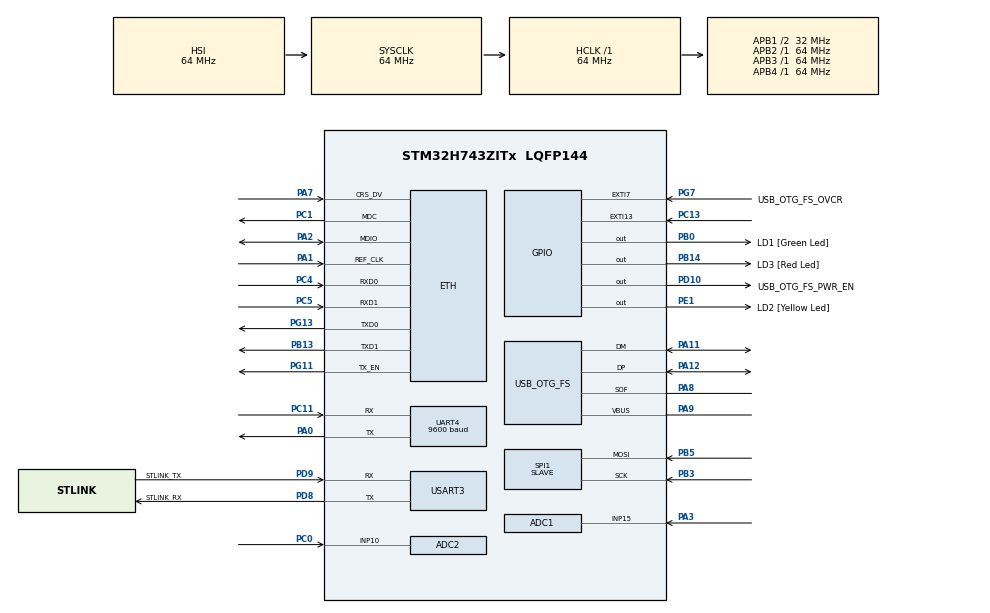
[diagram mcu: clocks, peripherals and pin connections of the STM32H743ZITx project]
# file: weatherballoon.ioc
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ADC1.Channel-1\#ChannelRegularConversion=ADC_CHANNEL_15
ADC1.NbrOfConversionFlag=1
ADC1.OffsetNumber-1\#ChannelRegularConversion=ADC_OFFSET_NONE
ADC1.OffsetSignedSaturation-1\#ChannelRegularConversion=DISABLE
ADC1.Rank-1\#ChannelRegularConversion=1
ADC1.Resolution=ADC_RESOLUTION_12B
ADC1.SamplingTime-1\#ChannelRegularConversion=ADC_SAMPLETIME_1CYCLE_5
ADC1.master=1
ADC2.Channel-0\#ChannelRegularConversion=ADC_CHANNEL_10
ADC2.NbrOfConversionFlag=1
ADC2.OffsetNumber-0\#ChannelRegularConversion=ADC_OFFSET_NONE
ADC2.OffsetSignedSaturation-0\#ChannelRegularConversion=DISABLE
ADC2.Rank-0\#ChannelRegularConversion=1
ADC2.SamplingTime-0\#ChannelRegularConversion=ADC_SAMPLETIME_1CYCLE_5
Dma.Request0=SPI1_RX
Dma.SPI1_RX.0.Direction=DMA_PERIPH_TO_MEMORY
Dma.SPI1_RX.0.EventEnable=DISABLE
Dma.SPI1_RX.0.FIFOMode=DMA_FIFOMODE_DISABLE
Dma.SPI1_RX.0.Instance=DMA1_Stream0
Dma.SPI1_RX.0.MemDataAlignment=DMA_MDATAALIGN_BYTE
Dma.SPI1_RX.0.MemInc=DMA_MINC_ENABLE
Dma.SPI1_RX.0.Mode=DMA_CIRCULAR
Dma.SPI1_RX.0.PeriphDataAlignment=DMA_PDATAALIGN_BYTE
Dma.SPI1_RX.0.PeriphInc=DMA_PINC_DISABLE
Dma.SPI1_RX.0.Polarity=HAL_DMAMUX_REQ_GEN_RISING
Dma.SPI1_RX.0.Priority=DMA_PRIORITY_LOW
Dma.SPI1_RX.0.RequestNumber=1
Dma.SPI1_RX.0.SignalID=NONE
Dma.SPI1_RX.0.SyncEnable=DISABLE
Dma.SPI1_RX.0.SyncPolarity=HAL_DMAMUX_SYNC_NO_EVENT
Dma.SPI1_RX.0.SyncRequestNumber=1
Dma.SPI1_RX.0.SyncSignalID=NONE
ETH.MediaInterface=HAL_ETH_RMII_MODE
FREERTOS.Tasks01=PollingLoop,24,128,StartPollingLoop,Default,NULL,Dynamic,NULL,NULL
FREERTOS.Timers01=batteryTimer,BatteryCallback,osTimerPeriodic,Default,NULL,Dynamic,NULL;descensionTimer,DescensionCallback,osTimerPeriodic,Default,NULL,Dynamic,NULL
FREERTOS.configUSE_NEWLIB_REENTRANT=1
Mcu.Family=STM32H7
Mcu.Name=STM32H743ZITx
Mcu.Package=LQFP144
NVIC.DMA1_Stream0_IRQn=true\:5\:0\:false\:false\:true\:true\:false\:true\:true
NVIC.EXTI15_10_IRQn=true\:5\:0\:false\:false\:true\:true\:true\:true\:true
NVIC.PriorityGroup=NVIC_PRIORITYGROUP_4
NVIC.SPI1_IRQn=true\:5\:0\:false\:false\:true\:true\:false\:true\:true
NVIC.TIM6_DAC_IRQn=true\:15\:0\:false\:false\:true\:false\:false\:true\:true
NVIC.TimeBase=TIM6_DAC_IRQn
NVIC.TimeBaseIP=TIM6
PA0.Mode=Asynchronous
PA0.Signal=UART4_TX
PA1.Mode=RMII
PA1.Signal=ETH_REF_CLK
PA11.Mode=Device_Only
PA11.Signal=USB_OTG_FS_DM
PA12.Mode=Device_Only
PA12.Signal=USB_OTG_FS_DP
PA2.Mode=RMII
PA2.Signal=ETH_MDIO
PA3.Signal=ADCx_INP15
PA7.Mode=RMII
PA7.Signal=ETH_CRS_DV
PA8.Mode=Activate_SOF_FS
PA8.Signal=USB_OTG_FS_SOF
PA9.Mode=Activate_VBUS
PA9.Signal=USB_OTG_FS_VBUS
PB0.GPIO_Label=LD1 [Green Led]
PB0.Signal=GPIO_Output
PB13.Mode=RMII
PB13.Signal=ETH_TXD1
PB14.GPIO_Label=LD3 [Red Led]
PB14.Signal=GPIO_Output
PB3\ (JTDO/TRACESWO).Mode=RX_Only_Simplex_Unidirect_Slave
PB3\ (JTDO/TRACESWO).Signal=SPI1_SCK
PB5.Mode=RX_Only_Simplex_Unidirect_Slave
PB5.Signal=SPI1_MOSI
PC0.Signal=ADCx_INP10
PC1.Mode=RMII
PC1.Signal=ETH_MDC
PC11.Mode=Asynchronous
PC11.Signal=UART4_RX
PC13.Signal=GPXTI13
PC14-OSC32_IN\ (OSC32_IN).Mode=LSE-External-Oscillator
PC14-OSC32_IN\ (OSC32_IN).Signal=RCC_OSC32_IN
PC15-OSC32_OUT\ (OSC32_OUT).Mode=LSE-External-Oscillator
PC15-OSC32_OUT\ (OSC32_OUT).Signal=RCC_OSC32_OUT
PC4.Mode=RMII
PC4.Signal=ETH_RXD0
PC5.Mode=RMII
PC5.Signal=ETH_RXD1
PD10.GPIO_Label=USB_OTG_FS_PWR_EN
PD10.Signal=GPIO_Output
PD8.GPIO_Label=STLINK_RX
PD8.Mode=Asynchronous
PD8.Signal=USART3_TX
PD9.GPIO_Label=STLINK_TX
PD9.Mode=Asynchronous
PD9.Signal=USART3_RX
PE1.GPIO_Label=LD2 [Yellow Led]
PE1.Signal=GPIO_Output
PG11.Mode=RMII
PG11.Signal=ETH_TX_EN
PG13.Mode=RMII
PG13.Signal=ETH_TXD0
PG7.GPIO_Label=USB_OTG_FS_OVCR
PG7.Signal=GPXTI7
PH0-OSC_IN\ (PH0).Mode=HSE-External-Clock-Source
PH0-OSC_IN\ (PH0).Signal=RCC_OSC_IN
PH1-OSC_OUT\ (PH1).Signal=RCC_OSC_OUT
ProjectManager.HeapSize=0x200
ProjectManager.StackSize=0x400
ProjectManager.TargetToolchain=STM32CubeIDE
RCC.ADCFreq_Value=76000000
RCC.APB1Freq_Value=32000000
RCC.APB2Freq_Value=64000000
RCC.APB3Freq_Value=64000000
RCC.APB4Freq_Value=64000000
RCC.CortexFreq_Value=64000000
RCC.D2PPRE1=RCC_APB1_DIV2
RCC.DIVM1=1
RCC.DIVM2=1
RCC.DIVN1=24
RCC.DIVN2=19
RCC.DIVQ1=4
RCC.HCLKFreq_Value=64000000
RCC.HSE_VALUE=8000000
RCC.SYSCLKFreq_VALUE=64000000
RCC.USBFreq_Value=48000000
SH.ADCx_INP10.0=ADC2_INP10,IN10-Single-Ended
SH.ADCx_INP15.0=ADC1_INP15,IN15-Single-Ended
SPI1.DataSize=SPI_DATASIZE_8BIT
SPI1.Direction=SPI_DIRECTION_2LINES_RXONLY
SPI1.Mode=SPI_MODE_SLAVE
SPI1.VirtualType=VM_SLAVE
UART4.BaudRate=9600
USART3.VirtualMode-Asynchronous=VM_ASYNC
USB_OTG_FS.VirtualMode=Device_Only
VP_FREERTOS_VS_CMSIS_V2.Mode=CMSIS_V2
VP_SYS_VS_tim6.Mode=TIM6
board=NUCLEO-H743ZI2

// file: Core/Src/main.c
/* USER CODE BEGIN Header */
/**
  ******************************************************************************
  * @file           : main.c
  * @brief          : Main program body
  ******************************************************************************
  * @attention
  *
  * Copyright (c) 2024 STMicroelectronics.
  * All rights reserved.
  *
  * This software is licensed under terms that can be found in the LICENSE file
  * in the root directory of this software component.
  * If no LICENSE file comes with this software, it is provided AS-IS.
  *
  ******************************************************************************
  */
/* USER CODE END Header */
#include "main.h"
#include "string.h"
#include "cmsis_os.h"
#include "unistd.h"
#include "data_storage.h"

/* USER CODE BEGIN Includes */

#include <stdio.h>
#include "retarget.h"
#include <stdbool.h>

#define powMin 10  // Replace with the actual power threshold value
#define maxLongitude 0
#define minLongitude 0
#define maxLatitude 0
#define minLatitude 0
#define maxAltitude 0
#define voltageConversion 25/4095
#define currentConversion 30/4095

#define logPeriod	60000	// Period for logging data, in milliseconds.
#define maxLoggingTime 28800000	// Max total time to be logging data, in milliseconds

int descendFlag = 0;
float prevAltitude = 0;
bool isLoggingTimeout = false;

typedef struct {
    int longitude;
    int latitude;
    int altitude;
} Coordinates;
/* USER CODE END Includes */

#if defined ( __ICCARM__ ) /*!< IAR Compiler */
#pragma location=0x30000000
ETH_DMADescTypeDef  DMARxDscrTab[ETH_RX_DESC_CNT]; /* Ethernet Rx DMA Descriptors */
#pragma location=0x30000200
ETH_DMADescTypeDef  DMATxDscrTab[ETH_TX_DESC_CNT]; /* Ethernet Tx DMA Descriptors */

#elif defined ( __CC_ARM )  /* MDK ARM Compiler */

__attribute__((at(0x30000000))) ETH_DMADescTypeDef  DMARxDscrTab[ETH_RX_DESC_CNT]; /* Ethernet Rx DMA Descriptors */
__attribute__((at(0x30000200))) ETH_DMADescTypeDef  DMATxDscrTab[ETH_TX_DESC_CNT]; /* Ethernet Tx DMA Descriptors */

#elif defined ( __GNUC__ ) /* GNU Compiler */

ETH_DMADescTypeDef DMARxDscrTab[ETH_RX_DESC_CNT] __attribute__((section(".RxDecripSection"))); /* Ethernet Rx DMA Descriptors */
ETH_DMADescTypeDef DMATxDscrTab[ETH_TX_DESC_CNT] __attribute__((section(".TxDecripSection")));   /* Ethernet Tx DMA Descriptors */
#endif

ETH_TxPacketConfig TxConfig;

ADC_HandleTypeDef hadc1;
ADC_HandleTypeDef hadc2;

ETH_HandleTypeDef heth;

SPI_HandleTypeDef hspi1;
DMA_HandleTypeDef hdma_spi1_rx;

UART_HandleTypeDef huart4;
UART_HandleTypeDef huart3;

PCD_HandleTypeDef hpcd_USB_OTG_FS;

/* Definitions for PollingLoop */
osThreadId_t PollingLoopHandle;
const osThreadAttr_t PollingLoop_attributes = {
  .name = "PollingLoop",
  .stack_size = 128 * 4,
  .priority = (osPriority_t) osPriorityNormal,
};
/* Definitions for batteryTimer */
osTimerId_t batteryTimerHandle;
const osTimerAttr_t batteryTimer_attributes = {
  .name = "batteryTimer"
};
/* Definitions for descensionTimer */
osTimerId_t descensionTimerHandle;
const osTimerAttr_t descensionTimer_attributes = {
  .name = "descensionTimer"
};
/* USER CODE BEGIN PV */
Position position;
/* USER CODE END PV */

void SystemClock_Config(void);
void PeriphCommonClock_Config(void);
static void MX_GPIO_Init(void);
static void MX_DMA_Init(void);
static void MX_USART3_UART_Init(void);
static void MX_USB_OTG_FS_PCD_Init(void);
static void MX_ETH_Init(void);
static void MX_SPI1_Init(void);
static void MX_ADC1_Init(void);
static void MX_ADC2_Init(void);
static void MX_UART4_Init(void);
void StartPollingLoop(void *argument);
void BatteryCallback(void *argument);
void DescensionCallback(void *argument);

/* USER CODE BEGIN PFP */
int getVoltage();
int getCurrent();
void checkBattery();
int checkAltitude(float altitude);
void checkLocation();
void fetchData(Data* data);
void logData();
void cutBalloon();
/* USER CODE END PFP */

/* USER CODE BEGIN 0 */
void fetchData(Data* data){
	data->time = HAL_GetTick();
	data->volts = getVoltage();
	data->longitude = position.longitude;
	data->latitude = position.latitude;
	data->altitude = position.altitude;
	//data.temperature = getTemperature();
	data->temperature = 0; //replace with above line when temperature function is implemented
	data->current = getCurrent();
}

void logData(){
		if(HAL_GetTick() < maxLoggingTime && !isLoggingTimeout){
			Data data;
			fetchData(&data);
			write_data((uint32_t*)&data);
		} else {
			isLoggingTimeout = true;
		}
}

void cutBalloon(){

	//set to pin to high HAL FUNCTION WITH PIN

	__disable_irq();
	HAL_GPIO_WritePin(GPIOB, GPIO_PIN_5, GPIO_PIN_SET);
	for(int i=0;i<64000000*15;i++){
		__NOP();
	}
	HAL_GPIO_WritePin(GPIOB, GPIO_PIN_5, GPIO_PIN_RESET);
	__enable_irq();
}

void lowPowerMode(){
	uint32_t lastTickCount_ms = 0;
	HAL_GPIO_WritePin(GPIOB, LD1_Pin, GPIO_PIN_RESET);
    //stopTransmitter();
   cutBalloon();
	while(1){
    	if((uint32_t)(HAL_GetTick() - lastTickCount_ms) >= logPeriod){
    		lastTickCount_ms = HAL_GetTick();

    		logData();
    	}
	}
}

int getVoltage(){
	uint32_t adc_val;
	HAL_ADC_Start(&hadc1);

	if(HAL_ADC_PollForConversion(&hadc1, 10)==HAL_OK){

		adc_val=HAL_ADC_GetValue(&hadc1);

	} else {
		return 0;
	}

	HAL_ADC_Stop(&hadc1);
	adc_val*=voltageConversion;

	return adc_val;
}

int getCurrent(){
	uint32_t adc_curr;
	HAL_ADC_Start(&hadc2);

	if(HAL_ADC_PollForConversion(&hadc2, 10)==HAL_OK){

			adc_curr=HAL_ADC_GetValue(&hadc2);

	} else {
		return 0;
	}

	HAL_ADC_Stop(&hadc2);
	adc_curr*=currentConversion;

	return adc_curr;
}

void checkBattery(){
	float batteryVoltage = getVoltage();

		if (batteryVoltage <= powMin){
			lowPowerMode();
		}
}

int checkAltitude(float altitude){
	if (altitude < prevAltitude){
		descendFlag+= 1;
	}
    if (altitude >= maxAltitude){
        return 1;
    }
    prevAltitude = altitude;
    return 0;
}

void checkLocation(void){
	getLocation(&hspi1, &position);

    if (position.longitude < maxLongitude && position.longitude > minLongitude){
        if(position.latitude < maxLatitude && position.latitude > minLatitude){
            if(checkAltitude(position.altitude) == 1){
                lowPowerMode();
            }
            return;
        }
    }

    lowPowerMode();
}

//The functions needs to have a parameter

/* USER CODE END 0 */

int main(void)
{

  /* MCU Configuration--------------------------------------------------------*/

  /* Reset of all peripherals, Initializes the Flash interface and the Systick. */
  HAL_Init();

  /* Configure the system clock */
  SystemClock_Config();

/* Configure the peripherals common clocks */
  PeriphCommonClock_Config();

  /* Initialize all configured peripherals */
  MX_GPIO_Init();
  MX_DMA_Init();
  MX_USART3_UART_Init();
  MX_USB_OTG_FS_PCD_Init();
  MX_ETH_Init();
  MX_SPI1_Init();
  MX_ADC1_Init();
  MX_ADC2_Init();
  MX_UART4_Init();
  /* USER CODE BEGIN 2 */
  getLocation(&hspi1, &position);
  HAL_SPI_RegisterCallback(&hspi1, HAL_SPI_RX_COMPLETE_CB_ID, getLocationClbk);

  HAL_GPIO_WritePin(LD2_GPIO_Port, LD2_Pin, GPIO_PIN_SET);
  read_data(huart3);
  HAL_GPIO_WritePin(LD2_GPIO_Port, LD2_Pin, GPIO_PIN_RESET);
  /* USER CODE END 2 */

  /* Init scheduler */
  osKernelInitialize();

  /* Create the timer(s) */
  /* creation of batteryTimer */
  batteryTimerHandle = osTimerNew(BatteryCallback, osTimerPeriodic, NULL, &batteryTimer_attributes);

  /* creation of descensionTimer */
  descensionTimerHandle = osTimerNew(DescensionCallback, osTimerPeriodic, NULL, &descensionTimer_attributes);

  /* Create the thread(s) */
  /* creation of PollingLoop */
  PollingLoopHandle = osThreadNew(StartPollingLoop, NULL, &PollingLoop_attributes);

  /* Start scheduler */
  osKernelStart();

  /* We should never get here as control is now taken by the scheduler */

  /* Infinite loop */
  while (1)
  {

  }
}

void SystemClock_Config(void)
{
  RCC_OscInitTypeDef RCC_OscInitStruct = {0};
  RCC_ClkInitTypeDef RCC_ClkInitStruct = {0};

  /** Supply configuration update enable
  */
  HAL_PWREx_ConfigSupply(PWR_LDO_SUPPLY);

  /** Configure the main internal regulator output voltage
  */
  __HAL_PWR_VOLTAGESCALING_CONFIG(PWR_REGULATOR_VOLTAGE_SCALE3);

  while(!__HAL_PWR_GET_FLAG(PWR_FLAG_VOSRDY)) {}

  /** Initializes the RCC Oscillators according to the specified parameters
  * in the RCC_OscInitTypeDef structure.
  */
  RCC_OscInitStruct.OscillatorType = RCC_OSCILLATORTYPE_HSI|RCC_OSCILLATORTYPE_HSE;
  RCC_OscInitStruct.HSEState = RCC_HSE_BYPASS;
  RCC_OscInitStruct.HSIState = RCC_HSI_DIV1;
  RCC_OscInitStruct.HSICalibrationValue = RCC_HSICALIBRATION_DEFAULT;
  RCC_OscInitStruct.PLL.PLLState = RCC_PLL_ON;
  RCC_OscInitStruct.PLL.PLLSource = RCC_PLLSOURCE_HSE;
  RCC_OscInitStruct.PLL.PLLM = 1;
  RCC_OscInitStruct.PLL.PLLN = 24;
  RCC_OscInitStruct.PLL.PLLP = 2;
  RCC_OscInitStruct.PLL.PLLQ = 4;
  RCC_OscInitStruct.PLL.PLLR = 2;
  RCC_OscInitStruct.PLL.PLLRGE = RCC_PLL1VCIRANGE_3;
  RCC_OscInitStruct.PLL.PLLVCOSEL = RCC_PLL1VCOWIDE;
  RCC_OscInitStruct.PLL.PLLFRACN = 0;
  if (HAL_RCC_OscConfig(&RCC_OscInitStruct) != HAL_OK)
  {
    Error_Handler();
  }

  /** Initializes the CPU, AHB and APB buses clocks
  */
  RCC_ClkInitStruct.ClockType = RCC_CLOCKTYPE_HCLK|RCC_CLOCKTYPE_SYSCLK
                              |RCC_CLOCKTYPE_PCLK1|RCC_CLOCKTYPE_PCLK2
                              |RCC_CLOCKTYPE_D3PCLK1|RCC_CLOCKTYPE_D1PCLK1;
  RCC_ClkInitStruct.SYSCLKSource = RCC_SYSCLKSOURCE_HSI;
  RCC_ClkInitStruct.SYSCLKDivider = RCC_SYSCLK_DIV1;
  RCC_ClkInitStruct.AHBCLKDivider = RCC_HCLK_DIV1;
  RCC_ClkInitStruct.APB3CLKDivider = RCC_APB3_DIV1;
  RCC_ClkInitStruct.APB1CLKDivider = RCC_APB1_DIV2;
  RCC_ClkInitStruct.APB2CLKDivider = RCC_APB2_DIV1;
  RCC_ClkInitStruct.APB4CLKDivider = RCC_APB4_DIV1;

  if (HAL_RCC_ClockConfig(&RCC_ClkInitStruct, FLASH_LATENCY_1) != HAL_OK)
  {
    Error_Handler();
  }
}

void PeriphCommonClock_Config(void)
{
  RCC_PeriphCLKInitTypeDef PeriphClkInitStruct = {0};

  /** Initializes the peripherals clock
  */
  PeriphClkInitStruct.PeriphClockSelection = RCC_PERIPHCLK_ADC;
  PeriphClkInitStruct.PLL2.PLL2M = 1;
  PeriphClkInitStruct.PLL2.PLL2N = 19;
  PeriphClkInitStruct.PLL2.PLL2P = 2;
  PeriphClkInitStruct.PLL2.PLL2Q = 2;
  PeriphClkInitStruct.PLL2.PLL2R = 2;
  PeriphClkInitStruct.PLL2.PLL2RGE = RCC_PLL2VCIRANGE_3;
  PeriphClkInitStruct.PLL2.PLL2VCOSEL = RCC_PLL2VCOMEDIUM;
  PeriphClkInitStruct.PLL2.PLL2FRACN = 0;
  PeriphClkInitStruct.AdcClockSelection = RCC_ADCCLKSOURCE_PLL2;
  if (HAL_RCCEx_PeriphCLKConfig(&PeriphClkInitStruct) != HAL_OK)
  {
    Error_Handler();
  }
}

static void MX_ADC1_Init(void)
{

  ADC_MultiModeTypeDef multimode = {0};
  ADC_ChannelConfTypeDef sConfig = {0};

  /** Common config
  */
  hadc1.Instance = ADC1;
  hadc1.Init.ClockPrescaler = ADC_CLOCK_ASYNC_DIV2;
  hadc1.Init.Resolution = ADC_RESOLUTION_16B;
  hadc1.Init.ScanConvMode = ADC_SCAN_DISABLE;
  hadc1.Init.EOCSelection = ADC_EOC_SINGLE_CONV;
  hadc1.Init.LowPowerAutoWait = DISABLE;
  hadc1.Init.ContinuousConvMode = DISABLE;
  hadc1.Init.NbrOfConversion = 1;
  hadc1.Init.DiscontinuousConvMode = DISABLE;
  hadc1.Init.ExternalTrigConv = ADC_SOFTWARE_START;
  hadc1.Init.ExternalTrigConvEdge = ADC_EXTERNALTRIGCONVEDGE_NONE;
  hadc1.Init.ConversionDataManagement = ADC_CONVERSIONDATA_DR;
  hadc1.Init.Overrun = ADC_OVR_DATA_PRESERVED;
  hadc1.Init.LeftBitShift = ADC_LEFTBITSHIFT_NONE;
  hadc1.Init.OversamplingMode = DISABLE;
  if (HAL_ADC_Init(&hadc1) != HAL_OK)
  {
    Error_Handler();
  }

  /** Configure the ADC multi-mode
  */
  multimode.Mode = ADC_MODE_INDEPENDENT;
  if (HAL_ADCEx_MultiModeConfigChannel(&hadc1, &multimode) != HAL_OK)
  {
    Error_Handler();
  }

  /** Configure Regular Channel
  */
  sConfig.Channel = ADC_CHANNEL_15;
  sConfig.Rank = ADC_REGULAR_RANK_1;
  sConfig.SamplingTime = ADC_SAMPLETIME_1CYCLE_5;
  sConfig.SingleDiff = ADC_SINGLE_ENDED;
  sConfig.OffsetNumber = ADC_OFFSET_NONE;
  sConfig.Offset = 0;
  sConfig.OffsetSignedSaturation = DISABLE;
  if (HAL_ADC_ConfigChannel(&hadc1, &sConfig) != HAL_OK)
  {
    Error_Handler();
  }

}

static void MX_ADC2_Init(void)
{

  ADC_ChannelConfTypeDef sConfig = {0};

  /** Common config
  */
  hadc2.Instance = ADC2;
  hadc2.Init.ClockPrescaler = ADC_CLOCK_ASYNC_DIV2;
  hadc2.Init.Resolution = ADC_RESOLUTION_16B;
  hadc2.Init.ScanConvMode = ADC_SCAN_DISABLE;
  hadc2.Init.EOCSelection = ADC_EOC_SINGLE_CONV;
  hadc2.Init.LowPowerAutoWait = DISABLE;
  hadc2.Init.ContinuousConvMode = DISABLE;
  hadc2.Init.NbrOfConversion = 1;
  hadc2.Init.DiscontinuousConvMode = DISABLE;
  hadc2.Init.ExternalTrigConv = ADC_SOFTWARE_START;
  hadc2.Init.ExternalTrigConvEdge = ADC_EXTERNALTRIGCONVEDGE_NONE;
  hadc2.Init.ConversionDataManagement = ADC_CONVERSIONDATA_DR;
  hadc2.Init.Overrun = ADC_OVR_DATA_PRESERVED;
  hadc2.Init.LeftBitShift = ADC_LEFTBITSHIFT_NONE;
  hadc2.Init.OversamplingMode = DISABLE;
  if (HAL_ADC_Init(&hadc2) != HAL_OK)
  {
    Error_Handler();
  }

  /** Configure Regular Channel
  */
  sConfig.Channel = ADC_CHANNEL_10;
  sConfig.Rank = ADC_REGULAR_RANK_1;
  sConfig.SamplingTime = ADC_SAMPLETIME_1CYCLE_5;
  sConfig.SingleDiff = ADC_SINGLE_ENDED;
  sConfig.OffsetNumber = ADC_OFFSET_NONE;
  sConfig.Offset = 0;
  sConfig.OffsetSignedSaturation = DISABLE;
  if (HAL_ADC_ConfigChannel(&hadc2, &sConfig) != HAL_OK)
  {
    Error_Handler();
  }

}

static void MX_ETH_Init(void)
{

   static uint8_t MACAddr[6];

  heth.Instance = ETH;
  MACAddr[0] = 0x00;
  MACAddr[1] = 0x80;
  MACAddr[2] = 0xE1;
  MACAddr[3] = 0x00;
  MACAddr[4] = 0x00;
  MACAddr[5] = 0x00;
  heth.Init.MACAddr = &MACAddr[0];
  heth.Init.MediaInterface = HAL_ETH_RMII_MODE;
  heth.Init.TxDesc = DMATxDscrTab;
  heth.Init.RxDesc = DMARxDscrTab;
  heth.Init.RxBuffLen = 1524;

  if (HAL_ETH_Init(&heth) != HAL_OK)
  {
    Error_Handler();
  }

  memset(&TxConfig, 0 , sizeof(ETH_TxPacketConfig));
  TxConfig.Attributes = ETH_TX_PACKETS_FEATURES_CSUM | ETH_TX_PACKETS_FEATURES_CRCPAD;
  TxConfig.ChecksumCtrl = ETH_CHECKSUM_IPHDR_PAYLOAD_INSERT_PHDR_CALC;
  TxConfig.CRCPadCtrl = ETH_CRC_PAD_INSERT;

}

static void MX_SPI1_Init(void)
{

  /* SPI1 parameter configuration*/
  hspi1.Instance = SPI1;
  hspi1.Init.Mode = SPI_MODE_SLAVE;
  hspi1.Init.Direction = SPI_DIRECTION_2LINES_RXONLY;
  hspi1.Init.DataSize = SPI_DATASIZE_8BIT;
  hspi1.Init.CLKPolarity = SPI_POLARITY_LOW;
  hspi1.Init.CLKPhase = SPI_PHASE_1EDGE;
  hspi1.Init.NSS = SPI_NSS_SOFT;
  hspi1.Init.FirstBit = SPI_FIRSTBIT_MSB;
  hspi1.Init.TIMode = SPI_TIMODE_DISABLE;
  hspi1.Init.CRCCalculation = SPI_CRCCALCULATION_DISABLE;
  hspi1.Init.CRCPolynomial = 0x0;
  hspi1.Init.NSSPMode = SPI_NSS_PULSE_DISABLE;
  hspi1.Init.NSSPolarity = SPI_NSS_POLARITY_LOW;
  hspi1.Init.FifoThreshold = SPI_FIFO_THRESHOLD_01DATA;
  hspi1.Init.TxCRCInitializationPattern = SPI_CRC_INITIALIZATION_ALL_ZERO_PATTERN;
  hspi1.Init.RxCRCInitializationPattern = SPI_CRC_INITIALIZATION_ALL_ZERO_PATTERN;
  hspi1.Init.MasterSSIdleness = SPI_MASTER_SS_IDLENESS_00CYCLE;
  hspi1.Init.MasterInterDataIdleness = SPI_MASTER_INTERDATA_IDLENESS_00CYCLE;
  hspi1.Init.MasterReceiverAutoSusp = SPI_MASTER_RX_AUTOSUSP_DISABLE;
  hspi1.Init.MasterKeepIOState = SPI_MASTER_KEEP_IO_STATE_DISABLE;
  hspi1.Init.IOSwap = SPI_IO_SWAP_DISABLE;
  if (HAL_SPI_Init(&hspi1) != HAL_OK)
  {
    Error_Handler();
  }

}

static void MX_UART4_Init(void)
{

  huart4.Instance = UART4;
  huart4.Init.BaudRate = 9600;
  huart4.Init.WordLength = UART_WORDLENGTH_8B;
  huart4.Init.StopBits = UART_STOPBITS_1;
  huart4.Init.Parity = UART_PARITY_NONE;
  huart4.Init.Mode = UART_MODE_TX_RX;
  huart4.Init.HwFlowCtl = UART_HWCONTROL_NONE;
  huart4.Init.OverSampling = UART_OVERSAMPLING_16;
  huart4.Init.OneBitSampling = UART_ONE_BIT_SAMPLE_DISABLE;
  huart4.Init.ClockPrescaler = UART_PRESCALER_DIV1;
  huart4.AdvancedInit.AdvFeatureInit = UART_ADVFEATURE_NO_INIT;
  if (HAL_UART_Init(&huart4) != HAL_OK)
  {
    Error_Handler();
  }
  if (HAL_UARTEx_SetTxFifoThreshold(&huart4, UART_TXFIFO_THRESHOLD_1_8) != HAL_OK)
  {
    Error_Handler();
  }
  if (HAL_UARTEx_SetRxFifoThreshold(&huart4, UART_RXFIFO_THRESHOLD_1_8) != HAL_OK)
  {
    Error_Handler();
  }
  if (HAL_UARTEx_DisableFifoMode(&huart4) != HAL_OK)
  {
    Error_Handler();
  }

}

static void MX_USART3_UART_Init(void)
{

  huart3.Instance = USART3;
  huart3.Init.BaudRate = 115200;
  huart3.Init.WordLength = UART_WORDLENGTH_8B;
  huart3.Init.StopBits = UART_STOPBITS_1;
  huart3.Init.Parity = UART_PARITY_NONE;
  huart3.Init.Mode = UART_MODE_TX_RX;
  huart3.Init.HwFlowCtl = UART_HWCONTROL_NONE;
  huart3.Init.OverSampling = UART_OVERSAMPLING_16;
  huart3.Init.OneBitSampling = UART_ONE_BIT_SAMPLE_DISABLE;
  huart3.Init.ClockPrescaler = UART_PRESCALER_DIV1;
  huart3.AdvancedInit.AdvFeatureInit = UART_ADVFEATURE_NO_INIT;
  if (HAL_UART_Init(&huart3) != HAL_OK)
  {
    Error_Handler();
  }
  if (HAL_UARTEx_SetTxFifoThreshold(&huart3, UART_TXFIFO_THRESHOLD_1_8) != HAL_OK)
  {
    Error_Handler();
  }
  if (HAL_UARTEx_SetRxFifoThreshold(&huart3, UART_RXFIFO_THRESHOLD_1_8) != HAL_OK)
  {
    Error_Handler();
  }
  if (HAL_UARTEx_DisableFifoMode(&huart3) != HAL_OK)
  {
    Error_Handler();
  }

}

static void MX_USB_OTG_FS_PCD_Init(void)
{

  hpcd_USB_OTG_FS.Instance = USB_OTG_FS;
  hpcd_USB_OTG_FS.Init.dev_endpoints = 9;
  hpcd_USB_OTG_FS.Init.speed = PCD_SPEED_FULL;
  hpcd_USB_OTG_FS.Init.dma_enable = DISABLE;
  hpcd_USB_OTG_FS.Init.phy_itface = PCD_PHY_EMBEDDED;
  hpcd_USB_OTG_FS.Init.Sof_enable = ENABLE;
  hpcd_USB_OTG_FS.Init.low_power_enable = DISABLE;
  hpcd_USB_OTG_FS.Init.lpm_enable = DISABLE;
  hpcd_USB_OTG_FS.Init.battery_charging_enable = ENABLE;
  hpcd_USB_OTG_FS.Init.vbus_sensing_enable = ENABLE;
  hpcd_USB_OTG_FS.Init.use_dedicated_ep1 = DISABLE;
  if (HAL_PCD_Init(&hpcd_USB_OTG_FS) != HAL_OK)
  {
    Error_Handler();
  }

}

static void MX_DMA_Init(void)
{

  /* DMA controller clock enable */
  __HAL_RCC_DMA1_CLK_ENABLE();

  /* DMA interrupt init */
  /* DMA1_Stream0_IRQn interrupt configuration */
  HAL_NVIC_SetPriority(DMA1_Stream0_IRQn, 5, 0);
  HAL_NVIC_EnableIRQ(DMA1_Stream0_IRQn);

}

static void MX_GPIO_Init(void)
{
  GPIO_InitTypeDef GPIO_InitStruct = {0};

  /* GPIO Ports Clock Enable */
  __HAL_RCC_GPIOC_CLK_ENABLE();
  __HAL_RCC_GPIOH_CLK_ENABLE();
  __HAL_RCC_GPIOA_CLK_ENABLE();
  __HAL_RCC_GPIOB_CLK_ENABLE();
  __HAL_RCC_GPIOD_CLK_ENABLE();
  __HAL_RCC_GPIOG_CLK_ENABLE();
  __HAL_RCC_GPIOE_CLK_ENABLE();

  /*Configure GPIO pin Output Level */
  HAL_GPIO_WritePin(GPIOB, LD1_Pin|LD3_Pin, GPIO_PIN_RESET);

  /*Configure GPIO pin Output Level */
  HAL_GPIO_WritePin(USB_OTG_FS_PWR_EN_GPIO_Port, USB_OTG_FS_PWR_EN_Pin, GPIO_PIN_RESET);

  /*Configure GPIO pin Output Level */
  HAL_GPIO_WritePin(LD2_GPIO_Port, LD2_Pin, GPIO_PIN_RESET);

  /*Configure GPIO pin : PC13 */
  GPIO_InitStruct.Pin = GPIO_PIN_13;
  GPIO_InitStruct.Mode = GPIO_MODE_IT_RISING;
  GPIO_InitStruct.Pull = GPIO_NOPULL;
  HAL_GPIO_Init(GPIOC, &GPIO_InitStruct);

  /*Configure GPIO pins : LD1_Pin LD3_Pin */
  GPIO_InitStruct.Pin = LD1_Pin|LD3_Pin;
  GPIO_InitStruct.Mode = GPIO_MODE_OUTPUT_PP;
  GPIO_InitStruct.Pull = GPIO_NOPULL;
  GPIO_InitStruct.Speed = GPIO_SPEED_FREQ_LOW;
  HAL_GPIO_Init(GPIOB, &GPIO_InitStruct);

  /*Configure GPIO pin : USB_OTG_FS_PWR_EN_Pin */
  GPIO_InitStruct.Pin = USB_OTG_FS_PWR_EN_Pin;
  GPIO_InitStruct.Mode = GPIO_MODE_OUTPUT_PP;
  GPIO_InitStruct.Pull = GPIO_NOPULL;
  GPIO_InitStruct.Speed = GPIO_SPEED_FREQ_LOW;
  HAL_GPIO_Init(USB_OTG_FS_PWR_EN_GPIO_Port, &GPIO_InitStruct);

  /*Configure GPIO pin : USB_OTG_FS_OVCR_Pin */
  GPIO_InitStruct.Pin = USB_OTG_FS_OVCR_Pin;
  GPIO_InitStruct.Mode = GPIO_MODE_IT_RISING;
  GPIO_InitStruct.Pull = GPIO_NOPULL;
  HAL_GPIO_Init(USB_OTG_FS_OVCR_GPIO_Port, &GPIO_InitStruct);

  /*Configure GPIO pin : LD2_Pin */
  GPIO_InitStruct.Pin = LD2_Pin;
  GPIO_InitStruct.Mode = GPIO_MODE_OUTPUT_PP;
  GPIO_InitStruct.Pull = GPIO_NOPULL;
  GPIO_InitStruct.Speed = GPIO_SPEED_FREQ_LOW;
  HAL_GPIO_Init(LD2_GPIO_Port, &GPIO_InitStruct);

  /* EXTI interrupt init*/
  HAL_NVIC_SetPriority(EXTI15_10_IRQn, 5, 0);
  HAL_NVIC_EnableIRQ(EXTI15_10_IRQn);

}

/* USER CODE BEGIN 4 */

void HAL_GPIO_EXTI_Callback(uint16_t GPIO_Pin)
{
  if(GPIO_Pin == GPIO_PIN_13) {
	HAL_GPIO_WritePin(GPIOB, LD3_Pin, GPIO_PIN_SET);
	erase_bank();
    HAL_GPIO_WritePin(GPIOB, LD3_Pin, GPIO_PIN_RESET);
  } else {
      __NOP();
  }
}

void send_over_serial(){
  char packet[257]="";  // there are 8 elements in the struct and each element has 32 bits. So the final value is 32*8+1
  transfer_serial_for_testing(packet);
  printf("%s \n",packet );
}

/* USER CODE END 4 */

void StartPollingLoop(void *argument)
{
  /* USER CODE BEGIN 5 */
  /* Infinite loop */
	RetargetInit(&huart3);
	uint32_t lastTime_ms = 0;
	HAL_GPIO_WritePin(GPIOB, LD1_Pin, GPIO_PIN_SET);

	for(;;){
		if((uint32_t)(HAL_GetTick() - lastTime_ms) >= logPeriod){
			lastTime_ms = HAL_GetTick();

			checkBattery();
			checkLocation();

			if(descendFlag >= 10){
				lowPowerMode();
			}

			logData();
      send_over_serial();

		}
	}
  /* USER CODE END 5 */
}

/* BatteryCallback function */
void BatteryCallback(void *argument)
{
}

/* DescensionCallback function */
void DescensionCallback(void *argument)
{
}

void HAL_TIM_PeriodElapsedCallback(TIM_HandleTypeDef *htim)
{
  if (htim->Instance == TIM6) {
    HAL_IncTick();
  }
}

void Error_Handler(void)
{
  __disable_irq();
  while (1)
  {
  }
}

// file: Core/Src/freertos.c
/* USER CODE BEGIN Header */
/**
  ******************************************************************************
  * File Name          : freertos.c
  * Description        : Code for freertos applications
  ******************************************************************************
  * @attention
  *
  * Copyright (c) 2024 STMicroelectronics.
  * All rights reserved.
  *
  * This software is licensed under terms that can be found in the LICENSE file
  * in the root directory of this software component.
  * If no LICENSE file comes with this software, it is provided AS-IS.
  *
  ******************************************************************************
  */
/* USER CODE END Header */

#include "FreeRTOS.h"
#include "task.h"
#include "main.h"
#include "cmsis_os.h"

/* USER CODE BEGIN Variables */
Position position;
int descendFlag = 0;
float prevAltitude = 0;
bool isLoggingTimeout = false;

/* USER CODE END Variables */
/* Definitions for PollingLoop */
osThreadId_t PollingLoopHandle;
const osThreadAttr_t PollingLoop_attributes = {
  .name = "PollingLoop",
  .stack_size = 128 * 4,
  .priority = (osPriority_t) osPriorityNormal,
};
/* Definitions for batteryTimer */
osTimerId_t batteryTimerHandle;
const osTimerAttr_t batteryTimer_attributes = {
  .name = "batteryTimer"
};
/* Definitions for descensionTimer */
osTimerId_t descensionTimerHandle;
const osTimerAttr_t descensionTimer_attributes = {
  .name = "descensionTimer"
};

void StartPollingLoop(void *argument);
void BatteryCallback(void *argument);
void DescensionCallback(void *argument);

void MX_FREERTOS_Init(void); /* (MISRA C 2004 rule 8.1) */

void MX_FREERTOS_Init(void) {

  /* Create the timer(s) */
  /* creation of batteryTimer */
  batteryTimerHandle = osTimerNew(BatteryCallback, osTimerPeriodic, NULL, &batteryTimer_attributes);

  /* creation of descensionTimer */
  descensionTimerHandle = osTimerNew(DescensionCallback, osTimerPeriodic, NULL, &descensionTimer_attributes);

  /* Create the thread(s) */
  /* creation of PollingLoop */
  PollingLoopHandle = osThreadNew(StartPollingLoop, NULL, &PollingLoop_attributes);

}

void StartPollingLoop(void *argument)
{
  /* USER CODE BEGIN StartPollingLoop */
  /* Infinite loop */
  RetargetInit(&huart3);
  getLocation(&hspi1, &position);
	uint32_t lastTime_ms = 0;
	HAL_GPIO_WritePin(GPIOB, LD1_Pin, GPIO_PIN_SET);

  for(;;)
  {
		if((uint32_t)(HAL_GetTick() - lastTime_ms) >= logPeriod){
			lastTime_ms = HAL_GetTick();

			checkBattery();
			checkLocation();

			if(descendFlag >= 10){
				lowPowerMode();
			}

			logData();
		}
  }
  /* USER CODE END StartPollingLoop */
}

/* BatteryCallback function */
void BatteryCallback(void *argument)
{
}

/* DescensionCallback function */
void DescensionCallback(void *argument)
{
}

/* USER CODE BEGIN Application */
void fetchData(Data* data){
	data->time = HAL_GetTick();
	data->volts = getVoltage();
	data->longitude = position.longitude;
	data->latitude = position.latitude;
	data->altitude = position.altitude;
	//data.temperature = getTemperature();
	data->temperature = 0; //replace with above line when temperature function is implemented
	data->current = getCurrent();
}

void logData(){
		if(!isLoggingTimeout && HAL_GetTick() < maxLoggingTime){
			Data data;
			fetchData(&data);
			write_data((uint32_t*)&data);
		} else {
			isLoggingTimeout = true;
		}
}

void cutBalloon(){
	//set to pin to high HAL FUNCTION WITH PIN

	__disable_irq();
	HAL_GPIO_WritePin(GPIOB, GPIO_PIN_5, GPIO_PIN_SET);
	for(int i=0;i<64000000*15;i++){
		__NOP();
	}
	HAL_GPIO_WritePin(GPIOB, GPIO_PIN_5, GPIO_PIN_RESET);
	__enable_irq();
}

void lowPowerMode(){
	uint32_t lastTickCount_ms = 0;
	HAL_GPIO_WritePin(GPIOB, LD1_Pin, GPIO_PIN_RESET);
    //stopTransmitter();
    cutBalloon();
    while(1){
    	if((uint32_t)(HAL_GetTick() - lastTickCount_ms) >= logPeriod){
    		lastTickCount_ms = HAL_GetTick();

    		logData();
    	}
	}
}

int getVoltage(){
	int adc_val;
	HAL_ADC_Start(&hadc1);

	if(HAL_ADC_PollForConversion(&hadc1, 10)==HAL_OK){

		adc_val=HAL_ADC_GetValue(&hadc1);

	} else {
		return 0;
	}

	HAL_ADC_Stop(&hadc1);
	adc_val *= voltageConversion_mV;

	return adc_val;
}

int getCurrent(){
	int adc_val;
	HAL_ADC_Start(&hadc2);

	if(HAL_ADC_PollForConversion(&hadc2, 10)==HAL_OK){

		adc_val=HAL_ADC_GetValue(&hadc2);

	} else {
		return 0;
	}

	HAL_ADC_Stop(&hadc2);
	adc_val *= currentConversion_mA;

	return adc_val;
}

void checkBattery(){
	float batteryVoltage = getVoltage();

		if (batteryVoltage <= powMin){
			lowPowerMode();
		}
}

int checkAltitude(float altitude){
	if (altitude < prevAltitude){
		descendFlag+= 1;
	}

  if (altitude >= maxAltitude){
    return 1;
  }

  prevAltitude = altitude;
  return 0;
}

void checkLocation(void){
	getLocation(&hspi1, &position);

    if (position.longitude < maxLongitude && position.longitude > minLongitude){
        if(position.latitude < maxLatitude && position.latitude > minLatitude){
            if(checkAltitude(position.altitude) == 1){
                lowPowerMode();
            }
            return;
        }
    }

    lowPowerMode();
}
/* USER CODE END Application */
